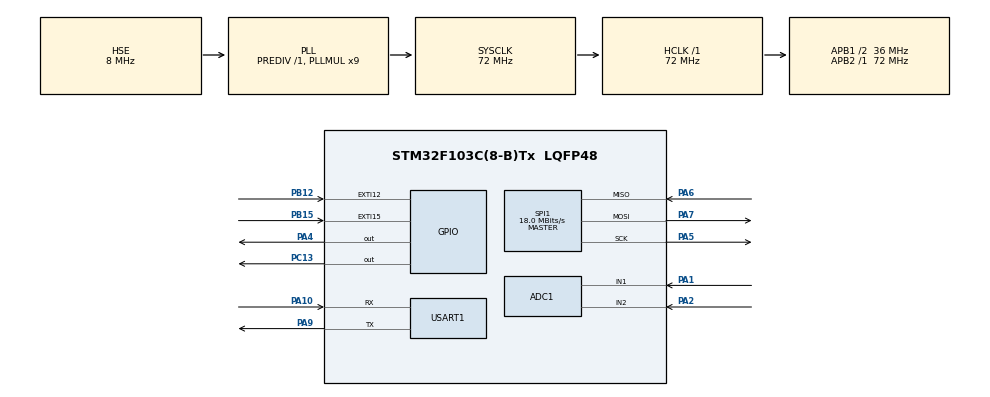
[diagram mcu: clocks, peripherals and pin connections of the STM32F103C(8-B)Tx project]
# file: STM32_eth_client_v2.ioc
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ADC1.Channel-2\#ChannelRegularConversion=ADC_CHANNEL_1
ADC1.Channel-3\#ChannelRegularConversion=ADC_CHANNEL_2
ADC1.ContinuousConvMode=ENABLE
ADC1.EnableRegularConversion=ENABLE
ADC1.NbrOfConversion=2
ADC1.NbrOfConversionFlag=1
ADC1.Rank-2\#ChannelRegularConversion=1
ADC1.Rank-3\#ChannelRegularConversion=2
ADC1.SamplingTime-2\#ChannelRegularConversion=ADC_SAMPLETIME_239CYCLES_5
ADC1.SamplingTime-3\#ChannelRegularConversion=ADC_SAMPLETIME_239CYCLES_5
ADC1.master=1
Dma.ADC1.0.Direction=DMA_PERIPH_TO_MEMORY
Dma.ADC1.0.Instance=DMA1_Channel1
Dma.ADC1.0.MemDataAlignment=DMA_MDATAALIGN_HALFWORD
Dma.ADC1.0.MemInc=DMA_MINC_ENABLE
Dma.ADC1.0.Mode=DMA_CIRCULAR
Dma.ADC1.0.PeriphDataAlignment=DMA_PDATAALIGN_HALFWORD
Dma.ADC1.0.PeriphInc=DMA_PINC_DISABLE
Dma.ADC1.0.Priority=DMA_PRIORITY_LOW
Dma.Request0=ADC1
Mcu.Family=STM32F1
Mcu.Name=STM32F103C(8-B)Tx
Mcu.Package=LQFP48
NVIC.DMA1_Channel1_IRQn=true\:0\:0\:false\:false\:true\:false\:true
NVIC.EXTI15_10_IRQn=true\:0\:0\:false\:false\:true\:true\:true
NVIC.PriorityGroup=NVIC_PRIORITYGROUP_4
PA1.Signal=ADCx_IN1
PA10.Mode=Asynchronous
PA10.Signal=USART1_RX
PA13.Mode=Serial_Wire
PA13.Signal=SYS_JTMS-SWDIO
PA14.Mode=Serial_Wire
PA14.Signal=SYS_JTCK-SWCLK
PA2.Signal=ADCx_IN2
PA4.Signal=GPIO_Output
PA5.Mode=Full_Duplex_Master
PA5.Signal=SPI1_SCK
PA6.Mode=Full_Duplex_Master
PA6.Signal=SPI1_MISO
PA7.Mode=Full_Duplex_Master
PA7.Signal=SPI1_MOSI
PA9.Mode=Asynchronous
PA9.Signal=USART1_TX
PB12.Signal=GPXTI12
PB15.Signal=GPXTI15
PC13-TAMPER-RTC.Signal=GPIO_Output
PD0-OSC_IN.Mode=HSE-External-Oscillator
PD0-OSC_IN.Signal=RCC_OSC_IN
PD1-OSC_OUT.Mode=HSE-External-Oscillator
PD1-OSC_OUT.Signal=RCC_OSC_OUT
ProjectManager.HeapSize=0x200
ProjectManager.StackSize=0x400
ProjectManager.TargetToolchain=STM32CubeIDE
RCC.ADCPresc=RCC_ADCPCLK2_DIV6
RCC.AHBFreq_Value=72000000
RCC.APB1CLKDivider=RCC_HCLK_DIV2
RCC.APB1Freq_Value=36000000
RCC.APB1TimFreq_Value=72000000
RCC.APB2Freq_Value=72000000
RCC.APB2TimFreq_Value=72000000
RCC.HCLKFreq_Value=72000000
RCC.PLLMUL=RCC_PLL_MUL9
RCC.PLLSourceVirtual=RCC_PLLSOURCE_HSE
RCC.SYSCLKFreq_VALUE=72000000
RCC.SYSCLKSource=RCC_SYSCLKSOURCE_PLLCLK
RCC.USBFreq_Value=72000000
SH.ADCx_IN1.0=ADC1_IN1,IN1
SH.ADCx_IN2.0=ADC1_IN2,IN2
SPI1.BaudRatePrescaler=SPI_BAUDRATEPRESCALER_4
SPI1.CalculateBaudRate=18.0 MBits/s
SPI1.Direction=SPI_DIRECTION_2LINES
SPI1.Mode=SPI_MODE_MASTER
SPI1.VirtualType=VM_MASTER
USART1.VirtualMode=VM_ASYNC
board=custom

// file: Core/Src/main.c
/* USER CODE BEGIN Header */
/**
  ******************************************************************************
  * @file           : main.c
  * @brief          : Main program body
  ******************************************************************************
  * @attention
  *
  * <h2><center>&copy; Copyright (c) 2020 STMicroelectronics.
  * All rights reserved.</center></h2>
  *
  * This software component is licensed by ST under BSD 3-Clause license,
  * the "License"; You may not use this file except in compliance with the
  * License. You may obtain a copy of the License at:
  *                        opensource.org/licenses/BSD-3-Clause
  *
  ******************************************************************************
  */
/* USER CODE END Header */

#include "main.h"

ADC_HandleTypeDef hadc1;
DMA_HandleTypeDef hdma_adc1;

SPI_HandleTypeDef hspi1;

UART_HandleTypeDef huart1;

void SystemClock_Config(void);
static void MX_GPIO_Init(void);
static void MX_DMA_Init(void);
static void MX_ADC1_Init(void);
static void MX_SPI1_Init(void);
static void MX_USART1_UART_Init(void);
/* USER CODE BEGIN PFP */

void SwitchLED (){
	HAL_GPIO_TogglePin(GPIOC, GPIO_PIN_13);
}

void prendeLED(void);
void apagaLED(void);

void translate (char *msg, uint8_t *rcv);
void parpadea (void);
void sirenaLoca(void);

void toggleFlag(void);
/* USER CODE END PFP */

/* USER CODE BEGIN 0 */

uint16_t VR[2];
uint8_t socketNum = 0;

uint8_t _sirena;
enum _estadoPa{sINIT, sFINISH, sWORK, sERROR, sCLOSE} estadoP;

/* USER CODE END 0 */

int main(void)
{/* USER CODE BEGIN 1 */
	/*
	 * VARIABLES PARA DEFINICION DE CONEXION TCP
	 */
	uint8_t bufSize[] = {2, 0, 0, 0, 0, 0, 0, 0};
	uint8_t serverIP[4] = {192, 168, 2, 192};
	char bufmsg[60];

//	uint8_t recv;				//VARIABLE QUE SE USÓ UNA VEZ PARA LO QUE SE RECIBE DEL SERVIDOR
//	uint16_t count = 0;
	/*
	 * VARIABLES QUE INTERACTUAN EN LO QUE SE VA A ENVIAR
	 * */
	int8_t _stateJoyX;
	int8_t _stateJoyY;

	uint8_t snd[3];

	/*
	 * VARIABLES QUE SE USARÍAN PARA LA CAPA INTERACTIVA DEL MODULO
	 */
//	int8_t stateTx;
//	int8_t stateRx;
//	int8_t stateSocket;
//	uint8_t stateRetarget;

	//VARIABLES DE ESTADO DE FUNCIONAMIENTO PROGRAMA
	bool estadoPi = false;

  /* USER CODE END 1 */

  /* MCU Configuration--------------------------------------------------------*/

  /* Reset of all peripherals, Initializes the Flash interface and the Systick. */
  HAL_Init();

  /* Configure the system clock */
  SystemClock_Config();

  /* USER CODE BEGIN SysInit */
//  initClient(socketNum, bufSize);
  /* USER CODE END SysInit */

  /* Initialize all configured peripherals */
  MX_GPIO_Init();
  MX_DMA_Init();
  MX_ADC1_Init();
  MX_SPI1_Init();
  MX_USART1_UART_Init();
  /* USER CODE BEGIN 2 */

  PRINT_HEADER();
  /*
   * Inicializo modulo cliente
   */
  initClient(socketNum, bufSize);
  apagaLED();
  _sirena = 0;			//LLEVARLO A OTRO LADO
  estadoP = sCLOSE;
  /* USER CODE END 2 */

  /* Infinite loop */
  while (1)
  {
	  	  switch(estadoP){
			  case sINIT:
				  if(estadoPi == false){
					  initJoystick(&hadc1,VR);
					  prendeLED();
					  estadoPi = true;
					  estadoP = sWORK;
				  }
				  else estadoP += 1;
				  break;

			  case sFINISH:
				  finJoystick(&hadc1);
				  apagaLED();
				  estadoPi = false;
				  estadoP = sCLOSE;
				  break;

			  case sWORK:
	  //EMPIEZA 2DO SWITCH FUNCIONAMIENTO
				  __NOP();
				  if(estadoWire() == 1)	estadoP = sERROR;
				  switch(getSn_SR(socketNum)){
				  	  case SOCK_INIT:
				  		  HAL_Delay(50);
				  		  connect(socketNum, serverIP,TCP_PORT);
				  		  break;
				  	  case SOCK_ESTABLISHED:
				  		  HAL_Delay(50);
				  	  	  _stateJoyX = stateJoysticks(VR[0]);
						  _stateJoyY = stateJoysticks(VR[1]);
						  snd[0] = _stateJoyX;
						  snd[1] = _stateJoyY;
						  snd[2] = _sirena;
						  sprintf(bufmsg,"%d,%d,%d",snd[0],snd[1],snd[2]);
						  //mostrar lo que se va a enviar.
						  PRINT_STR(bufmsg);
						  send(socketNum,(uint8_t*)bufmsg,strlen(bufmsg));
						  /*
						   * Probar enviando el array entero y debuguear el servidor.
						   * note: En su momento el compilador arrojó un warning por
						   * incompatibilidad de tipo o falta de casteo. El problema
						   * es que entiendo que la funcion sprintf asigna en bufmsg
						   * valores quedando una variable "cont char .." y no un "char"
						   * comun y sivestre. Es para pensar!!
						   */

						  break;
				  	  case SOCK_CLOSE_WAIT:
				  		  HAL_Delay(50);
				  		  close(socketNum);
				  		  break;
				  	  case SOCK_CLOSED:
				  		  HAL_Delay(50);
				  		  socket(socketNum,Sn_MR_TCP,TCP_PORT,SF_TCP_NODELAY);

				  		  break;
				  }
				  break;
				  //TERMINA 2DO SWITCH DE FUNCIONAMIENTO

			  case sERROR:
				  parpadea();
				  if(estadoWire() == 0) estadoP = sWORK;
				  break;

			  case sCLOSE:
				  __NOP();
				  break;

	  	  }

	  }

}

void SystemClock_Config(void)
{
  RCC_OscInitTypeDef RCC_OscInitStruct = {0};
  RCC_ClkInitTypeDef RCC_ClkInitStruct = {0};
  RCC_PeriphCLKInitTypeDef PeriphClkInit = {0};

  /** Initializes the CPU, AHB and APB busses clocks
  */
  RCC_OscInitStruct.OscillatorType = RCC_OSCILLATORTYPE_HSE;
  RCC_OscInitStruct.HSEState = RCC_HSE_ON;
  RCC_OscInitStruct.HSEPredivValue = RCC_HSE_PREDIV_DIV1;
  RCC_OscInitStruct.HSIState = RCC_HSI_ON;
  RCC_OscInitStruct.PLL.PLLState = RCC_PLL_ON;
  RCC_OscInitStruct.PLL.PLLSource = RCC_PLLSOURCE_HSE;
  RCC_OscInitStruct.PLL.PLLMUL = RCC_PLL_MUL9;
  if (HAL_RCC_OscConfig(&RCC_OscInitStruct) != HAL_OK)
  {
    Error_Handler();
  }
  /** Initializes the CPU, AHB and APB busses clocks
  */
  RCC_ClkInitStruct.ClockType = RCC_CLOCKTYPE_HCLK|RCC_CLOCKTYPE_SYSCLK
                              |RCC_CLOCKTYPE_PCLK1|RCC_CLOCKTYPE_PCLK2;
  RCC_ClkInitStruct.SYSCLKSource = RCC_SYSCLKSOURCE_PLLCLK;
  RCC_ClkInitStruct.AHBCLKDivider = RCC_SYSCLK_DIV1;
  RCC_ClkInitStruct.APB1CLKDivider = RCC_HCLK_DIV2;
  RCC_ClkInitStruct.APB2CLKDivider = RCC_HCLK_DIV1;

  if (HAL_RCC_ClockConfig(&RCC_ClkInitStruct, FLASH_LATENCY_2) != HAL_OK)
  {
    Error_Handler();
  }
  PeriphClkInit.PeriphClockSelection = RCC_PERIPHCLK_ADC;
  PeriphClkInit.AdcClockSelection = RCC_ADCPCLK2_DIV6;
  if (HAL_RCCEx_PeriphCLKConfig(&PeriphClkInit) != HAL_OK)
  {
    Error_Handler();
  }
}

static void MX_ADC1_Init(void)
{

  ADC_ChannelConfTypeDef sConfig = {0};

  /** Common config
  */
  hadc1.Instance = ADC1;
  hadc1.Init.ScanConvMode = ADC_SCAN_ENABLE;
  hadc1.Init.ContinuousConvMode = ENABLE;
  hadc1.Init.DiscontinuousConvMode = DISABLE;
  hadc1.Init.ExternalTrigConv = ADC_SOFTWARE_START;
  hadc1.Init.DataAlign = ADC_DATAALIGN_RIGHT;
  hadc1.Init.NbrOfConversion = 2;
  if (HAL_ADC_Init(&hadc1) != HAL_OK)
  {
    Error_Handler();
  }
  /** Configure Regular Channel
  */
  sConfig.Channel = ADC_CHANNEL_1;
  sConfig.Rank = ADC_REGULAR_RANK_1;
  sConfig.SamplingTime = ADC_SAMPLETIME_239CYCLES_5;
  if (HAL_ADC_ConfigChannel(&hadc1, &sConfig) != HAL_OK)
  {
    Error_Handler();
  }
  /** Configure Regular Channel
  */
  sConfig.Channel = ADC_CHANNEL_2;
  sConfig.Rank = ADC_REGULAR_RANK_2;
  if (HAL_ADC_ConfigChannel(&hadc1, &sConfig) != HAL_OK)
  {
    Error_Handler();
  }

}

static void MX_SPI1_Init(void)
{

  /* SPI1 parameter configuration*/
  hspi1.Instance = SPI1;
  hspi1.Init.Mode = SPI_MODE_MASTER;
  hspi1.Init.Direction = SPI_DIRECTION_2LINES;
  hspi1.Init.DataSize = SPI_DATASIZE_8BIT;
  hspi1.Init.CLKPolarity = SPI_POLARITY_LOW;
  hspi1.Init.CLKPhase = SPI_PHASE_1EDGE;
  hspi1.Init.NSS = SPI_NSS_SOFT;
  hspi1.Init.BaudRatePrescaler = SPI_BAUDRATEPRESCALER_4;
  hspi1.Init.FirstBit = SPI_FIRSTBIT_MSB;
  hspi1.Init.TIMode = SPI_TIMODE_DISABLE;
  hspi1.Init.CRCCalculation = SPI_CRCCALCULATION_DISABLE;
  hspi1.Init.CRCPolynomial = 10;
  if (HAL_SPI_Init(&hspi1) != HAL_OK)
  {
    Error_Handler();
  }

}

static void MX_USART1_UART_Init(void)
{

  huart1.Instance = USART1;
  huart1.Init.BaudRate = 115200;
  huart1.Init.WordLength = UART_WORDLENGTH_8B;
  huart1.Init.StopBits = UART_STOPBITS_1;
  huart1.Init.Parity = UART_PARITY_NONE;
  huart1.Init.Mode = UART_MODE_TX_RX;
  huart1.Init.HwFlowCtl = UART_HWCONTROL_NONE;
  huart1.Init.OverSampling = UART_OVERSAMPLING_16;
  if (HAL_UART_Init(&huart1) != HAL_OK)
  {
    Error_Handler();
  }

}

static void MX_DMA_Init(void)
{

  /* DMA controller clock enable */
  __HAL_RCC_DMA1_CLK_ENABLE();

  /* DMA interrupt init */
  /* DMA1_Channel1_IRQn interrupt configuration */
  HAL_NVIC_SetPriority(DMA1_Channel1_IRQn, 0, 0);
  HAL_NVIC_EnableIRQ(DMA1_Channel1_IRQn);

}

static void MX_GPIO_Init(void)
{
  GPIO_InitTypeDef GPIO_InitStruct = {0};

  /* GPIO Ports Clock Enable */
  __HAL_RCC_GPIOC_CLK_ENABLE();
  __HAL_RCC_GPIOD_CLK_ENABLE();
  __HAL_RCC_GPIOA_CLK_ENABLE();
  __HAL_RCC_GPIOB_CLK_ENABLE();

  /*Configure GPIO pin Output Level */
  HAL_GPIO_WritePin(GPIOC, GPIO_PIN_13, GPIO_PIN_RESET);

  /*Configure GPIO pin Output Level */
  HAL_GPIO_WritePin(GPIOA, GPIO_PIN_4, GPIO_PIN_RESET);

  /*Configure GPIO pin : PC13 */
  GPIO_InitStruct.Pin = GPIO_PIN_13;
  GPIO_InitStruct.Mode = GPIO_MODE_OUTPUT_PP;
  GPIO_InitStruct.Pull = GPIO_NOPULL;
  GPIO_InitStruct.Speed = GPIO_SPEED_FREQ_LOW;
  HAL_GPIO_Init(GPIOC, &GPIO_InitStruct);

  /*Configure GPIO pin : PA4 */
  GPIO_InitStruct.Pin = GPIO_PIN_4;
  GPIO_InitStruct.Mode = GPIO_MODE_OUTPUT_PP;
  GPIO_InitStruct.Pull = GPIO_NOPULL;
  GPIO_InitStruct.Speed = GPIO_SPEED_FREQ_LOW;
  HAL_GPIO_Init(GPIOA, &GPIO_InitStruct);

  /*Configure GPIO pins : PB12 PB15 */
  GPIO_InitStruct.Pin = GPIO_PIN_12|GPIO_PIN_15;
  GPIO_InitStruct.Mode = GPIO_MODE_IT_FALLING;
  GPIO_InitStruct.Pull = GPIO_NOPULL;
  HAL_GPIO_Init(GPIOB, &GPIO_InitStruct);

  /* EXTI interrupt init*/
  HAL_NVIC_SetPriority(EXTI15_10_IRQn, 0, 0);
  HAL_NVIC_EnableIRQ(EXTI15_10_IRQn);

}

/* USER CODE BEGIN 4 */

/*
 * @brief	Funcion Callback llamada de interrupción externa. El condicional sirve
 * 			determina quien realiza la llamada. El GPIO_PIN_12 boton start/fin.
 * 			Inicia o termina proceso. El GPIO_PIN_13 es el boton que inicia sirena
 * 			en el modulo conectado por eth, osea el servidor.
 * @note	Nombro proceso a funcion que:
 * 				- Modifica Flag
 * 				- Comienza o termina muestreo ADC
 * 				- Comienza o termina transmición de datos
 * 				- Enciende o apaga Led GPIO_PIN_13
 * @param 	GPIO_Pin: Valor de PIN que llama a la interrupción
 */

void HAL_GPIO_EXTI_Callback(uint16_t GPIO_Pin){
	/*
	 * EN LA LLAMADA A LA INTERRUPCION SE TIENE QUE PONER POCO CODIGO
	 */

	if(GPIO_Pin == GPIO_PIN_12){			//A COMPLETAR CON FUNCION, RECORDAR FLAG QUE CONDICIONA PIN_13

		toggleFlag();

	}
	//AL PRECIONAR EL BOTON DE SIRENA SE SETEA EN ACTIVO LA VARIABLE
	if(GPIO_Pin == GPIO_PIN_15){
		if(estadoP == sWORK){
			sirenaLoca();
		}
	}
}

void toggleFlag(void){
	estadoP = sINIT;
}

void prendeLED(void){
	  HAL_GPIO_WritePin(GPIOC, GPIO_PIN_13, GPIO_PIN_RESET);
}

void apagaLED(void){
	  HAL_GPIO_WritePin(GPIOC, GPIO_PIN_13, GPIO_PIN_SET);
}

void translate (char *bufmsg, uint8_t *rcv){

	if(*bufmsg == 48) *rcv = 0;				// Es lo toma entero a la comparacion.
	if(*bufmsg == 49) *rcv = 1;

	/*	CODIGOS ASCII
	 * 48 = 0
	 * 49 = 1
	 */
}

void parpadea (void){
	uint8_t i =0;
	while(i < 5){
		apagaLED();
		HAL_Delay(50);
		prendeLED();
		HAL_Delay(50);
		i++;
	}
}

void sirenaLoca(void){
	switch(_sirena){
	case 0:
		_sirena = 1;
		break;
	case 1:
		_sirena = 0;
		break;
	}
}

/* USER CODE END 4 */

void Error_Handler(void)
{
}

/************************ (C) COPYRIGHT STMicroelectronics *****END OF FILE****/
